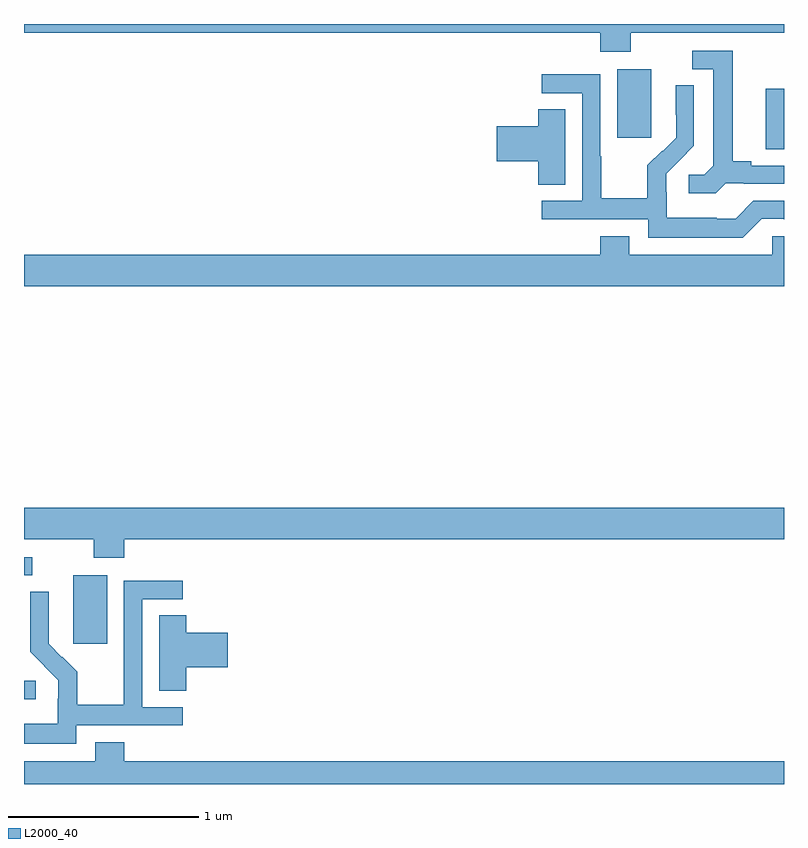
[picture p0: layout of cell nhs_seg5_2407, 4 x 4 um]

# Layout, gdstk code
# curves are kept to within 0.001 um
import gdstk
lib = gdstk.Library(unit=1e-6, precision=1e-09)
def R(c, l, rs):  # rectangles x0, y0, x1, y1
    for r in rs: c.add(gdstk.rectangle(r[:2], r[2:], *l))
def P(c, l, *ps):  # polygons
    for p in ps: c.add(gdstk.Polygon(p, *l))
L2000_40 = (2000, 40)

nhs_seg5_2407 = lib.new_cell('nhs_seg5_2407')
R(nhs_seg5_2407, L2000_40, [(251,861.245,251.062,861.342), (251.258,861.537,251.437,861.898), (251,861.897,251.044,861.993), (254.903,864.139,255,864.459), (254.123,864.201,254.302,864.562)])
P(nhs_seg5_2407, L2000_40, [(254.193,864.752),(255,864.752),(255,864.799),(251,864.799),(251,864.752),(254.033,864.752),(254.033,864.653),(254.193,864.653)],
  [(254.694,863.961),(254.788,863.961),(254.788,863.958),(255,863.958),(255,864.054),(254.827,864.054),(254.827,864.077),(254.731,864.077),(254.731,864.657),(254.517,864.657),(254.517,864.561),(254.627,864.561),(254.627,864.053),(254.58,864.006),(254.499,864.006),(254.499,863.909),(254.642,863.909)],
  [(254.883,863.775),(254.999,863.775),(255,863.772),(255,863.868),(254.838,863.868),(254.745,863.775),(254.645,863.775),(254.645,863.779),(254.382,863.779),(254.382,863.913),(254.38,863.913),(254.38,864.01),(254.526,864.158),(254.526,864.476),(254.43,864.476),(254.43,864.322),(254.432,864.322),(254.432,864.2),(254.361,864.129),(254.358,864.132),(254.281,864.055),(254.281,863.881),(254.037,863.881),(254.037,864.104),(254.034,864.104),(254.034,864.534),(253.725,864.534),(253.725,864.435),(253.938,864.435),(253.938,863.868),(253.725,863.868),(253.725,863.772),(254.286,863.772),(254.286,863.675),(254.783,863.675)],
  [(253.849,864.35),(253.706,864.35),(253.706,864.26),(253.488,864.26),(253.488,864.077),(253.706,864.077),(253.706,863.953),(253.849,863.953)],
  [(255,863.682),(254.937,863.682),(254.937,863.584),(254.185,863.584),(254.185,863.683),(254.033,863.683),(254.033,863.584),(251,863.584),(251,863.42),(255,863.42)],
  [(251.528,862.088),(255,862.088),(255,862.252),(251,862.252),(251,862.088),(251.368,862.088),(251.368,861.989),(251.528,861.989)],
  [(251.274,861.108),(251.836,861.108),(251.836,861.204),(251.622,861.204),(251.622,861.771),(251.836,861.771),(251.836,861.87),(251.526,861.87),(251.526,861.44),(251.524,861.44),(251.524,861.217),(251.279,861.217),(251.279,861.391),(251.202,861.468),(251.199,861.465),(251.129,861.536),(251.13,861.812),(251.034,861.812),(251.034,861.494),(251.18,861.346),(251.18,861.249),(251.178,861.249),(251.178,861.115),(251,861.115),(251,861.011),(251.274,861.011)],
  [(251.855,861.413),(252.073,861.413),(252.073,861.596),(251.855,861.596),(251.855,861.686),(251.711,861.686),(251.711,861.289),(251.855,861.289)],
  [(255,860.92),(251.528,860.92),(251.528,861.019),(251.375,861.019),(251.375,860.92),(251,860.92),(251,860.799),(255,860.799)])

lib.write_gds('nhs_seg5_2407.gds')
